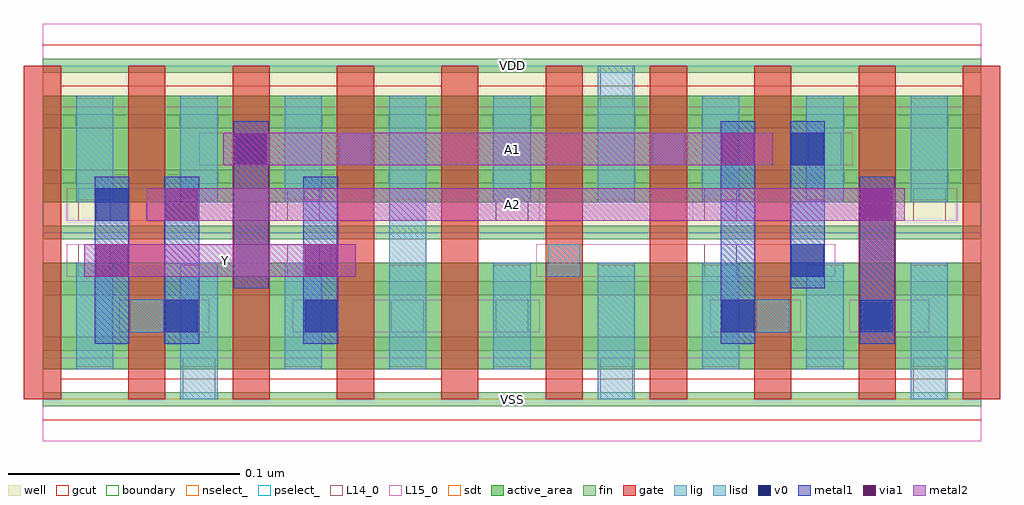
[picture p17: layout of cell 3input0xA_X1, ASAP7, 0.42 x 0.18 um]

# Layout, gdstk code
import gdstk
lib = gdstk.Library(unit=1e-6, precision=2.5e-10)
def R(c, l, rs):  # rectangles x0, y0, x1, y1
    for r in rs: c.add(gdstk.rectangle(r[:2], r[2:], *l))
def A(c, l, x, y, w, h, nx, ny, dx, dy):  # array of equal rectangles
    R(c, l, [(x+i*dx, y+j*dy, x+i*dx+w, y+j*dy+h) for i in range(nx) for j in range(ny)])
def P(c, l, *ps):  # polygons
    for p in ps: c.add(gdstk.Polygon(p, *l))
well = (1, 0)
fin = (2, 0)
gate = (7, 0)
gcut = (10, 0)
active_area = (11, 0)
nselect_ = (12, 0)
pselect_ = (13, 0)
L14_0 = (14, 0)
L15_0 = (15, 0)
lig = (16, 0)
lisd = (17, 0)
v0 = (18, 0)
metal1 = (19, 0)
metal2 = (20, 0)
via1 = (21, 0)
sdt = (88, 0)
boundary = (100, 0)

c_3input0xa_x1 = lib.new_cell('3input0xA_X1')
R(c_3input0xa_x1, well, [(0,0.072,0.405,0.144)])
A(c_3input0xa_x1, fin, 0, -0.003, 0.405, 0.006, 1, 7, 0, 0.024)
A(c_3input0xa_x1, gate, -0.008, 0, 0.016, 0.144, 10, 1, 0.045, 0)
P(c_3input0xa_x1, gcut, [(0,-0.009),(0,0),(-0.008,0),(-0.008,0.135),(0.008,0.135),(0.008,0.009),(0.172,0.009),(0.172,0.135),(0.188,0.135),(0.188,0.009),(0.397,0.009),(0.397,0.135),(-0.008,0.135),(-0.008,0.144),(0,0.144),(0,0.153),(0.405,0.153),(0.405,0.144),(0.413,0.144),(0.413,0),(0.405,0),(0.405,-0.009)])
R(c_3input0xa_x1, active_area, [(0,0.013,0.405,0.059), (0,0.085,0.405,0.131)])
R(c_3input0xa_x1, nselect_, [(0,0,0.405,0.072)])
R(c_3input0xa_x1, pselect_, [(0,0.072,0.405,0.144)])
A(c_3input0xa_x1, L14_0, 0.0155, 0.077, 0.014, 0.014, 5, 1, 0.09, 0)
R(c_3input0xa_x1, L14_0, [(0.0605,0,0.0745,0.018), (0.2405,0,0.2545,0.018), (0.3755,0,0.3895,0.018), (0.038,0.029,0.052,0.043), (0.1505,0.029,0.1645,0.043), (0.1955,0.029,0.2095,0.043), (0.308,0.029,0.322,0.043), (0.353,0.029,0.367,0.043), (0.0155,0.053,0.0295,0.067), (0.1055,0.053,0.1195,0.067), (0.218,0.053,0.232,0.067), (0.2855,0.053,0.2995,0.067), (0.083,0.101,0.097,0.115), (0.128,0.101,0.142,0.115), (0.263,0.101,0.277,0.115), (0.3305,0.101,0.3445,0.115), (0.2405,0.126,0.2545,0.144)])
R(c_3input0xa_x1, L15_0, [(0,-0.018,0.405,0.018), (0.033,0.029,0.072,0.043), (0.108,0.029,0.2145,0.043), (0.288,0.029,0.327,0.043), (0.348,0.029,0.3825,0.043), (0.0105,0.053,0.1245,0.067), (0.213,0.053,0.342,0.067), (0.0105,0.077,0.045,0.091), (0.1005,0.077,0.2145,0.091), (0.2805,0.077,0.3945,0.091), (0.0675,0.101,0.102,0.115), (0.123,0.101,0.282,0.115), (0.315,0.101,0.3495,0.115), (0,0.126,0.405,0.162)])
R(c_3input0xa_x1, lig, [(0.038,0.029,0.052,0.043), (0.308,0.029,0.322,0.043), (0.353,0.029,0.367,0.043), (0.218,0.053,0.232,0.067), (0.083,0.101,0.097,0.115), (0.128,0.101,0.142,0.115), (0.263,0.101,0.277,0.115)])
A(c_3input0xa_x1, lisd, 0.0145, 0.013, 0.016, 0.046, 4, 1, 0.09, 0)
A(c_3input0xa_x1, lisd, 0.0145, 0.085, 0.016, 0.046, 3, 1, 0.045, 0)
A(c_3input0xa_x1, lisd, 0.2845, 0.085, 0.016, 0.046, 3, 1, 0.045, 0)
R(c_3input0xa_x1, lisd, [(0.0595,0,0.0755,0.059), (0.2395,0,0.2555,0.059), (0.3745,0,0.3905,0.059), (0.1495,0.013,0.1655,0.131), (0.3295,0.013,0.3455,0.059), (0.1945,0.085,0.2105,0.131), (0.2395,0.085,0.2555,0.144)])
R(c_3input0xa_x1, v0, [(0.053,0.029,0.067,0.043), (0.113,0.029,0.127,0.043), (0.293,0.029,0.307,0.043), (0.353,0.029,0.367,0.043), (0.323,0.053,0.337,0.067), (0.023,0.077,0.037,0.091), (0.083,0.101,0.097,0.115), (0.323,0.101,0.337,0.115)])
R(c_3input0xa_x1, metal1, [(0.0225,0.024,0.0375,0.096), (0.0525,0.024,0.0675,0.096), (0.1125,0.024,0.1275,0.096), (0.2925,0.024,0.3075,0.12), (0.3525,0.024,0.3675,0.096), (0.0825,0.048,0.0975,0.12), (0.3225,0.048,0.3375,0.12)])
R(c_3input0xa_x1, metal2, [(0.018,0.053,0.135,0.067), (0.045,0.077,0.372,0.091), (0.078,0.101,0.315,0.115)])
R(c_3input0xa_x1, via1, [(0.023,0.053,0.037,0.067), (0.113,0.053,0.127,0.067), (0.053,0.077,0.067,0.091), (0.353,0.077,0.367,0.091), (0.083,0.101,0.097,0.115), (0.293,0.101,0.307,0.115)])
A(c_3input0xa_x1, sdt, 0.0145, 0.014, 0.016, 0.044, 9, 2, 0.045, 0.072)
R(c_3input0xa_x1, boundary, [(0,0,0.405,0.144)])
c_3input0xa_x1.add(gdstk.Label('VSS', (0.2025,0), layer=15, texttype=251))
c_3input0xa_x1.add(gdstk.Label('VDD', (0.2025,0.144), layer=15, texttype=251))
c_3input0xa_x1.add(gdstk.Label('VSS', (0.2025,0), layer=15, texttype=251))
c_3input0xa_x1.add(gdstk.Label('VDD', (0.2025,0.144), layer=15, texttype=251))
c_3input0xa_x1.add(gdstk.Label('A1', (0.2025,0.108), layer=15, texttype=251))
c_3input0xa_x1.add(gdstk.Label('VSS', (0.2025,0), layer=15, texttype=251))
c_3input0xa_x1.add(gdstk.Label('VDD', (0.2025,0.144), layer=15, texttype=251))
c_3input0xa_x1.add(gdstk.Label('VSS', (0.2025,0), layer=15, texttype=251))
c_3input0xa_x1.add(gdstk.Label('VDD', (0.2025,0.144), layer=15, texttype=251))
c_3input0xa_x1.add(gdstk.Label('VSS', (0.2025,0), layer=3, texttype=251))
c_3input0xa_x1.add(gdstk.Label('VSS', (0.2025,0), layer=3, texttype=251))
c_3input0xa_x1.add(gdstk.Label('VSS', (0.2025,0), layer=3, texttype=251))
c_3input0xa_x1.add(gdstk.Label('VSS', (0.2025,0), layer=3, texttype=251))
c_3input0xa_x1.add(gdstk.Label('VDD', (0.2025,0.144), layer=1, texttype=251))
c_3input0xa_x1.add(gdstk.Label('VDD', (0.2025,0.144), layer=1, texttype=251))
c_3input0xa_x1.add(gdstk.Label('VDD', (0.2025,0.144), layer=1, texttype=251))
c_3input0xa_x1.add(gdstk.Label('VDD', (0.2025,0.144), layer=1, texttype=251))
c_3input0xa_x1.add(gdstk.Label('A3', (0.2025,0.108), layer=20, texttype=251))
c_3input0xa_x1.add(gdstk.Label('Y', (0.0788,0.06), layer=20, texttype=251))
c_3input0xa_x1.add(gdstk.Label('A2', (0.2025,0.084), layer=20, texttype=251))

lib.write_gds('3input0xA_X1.gds')
